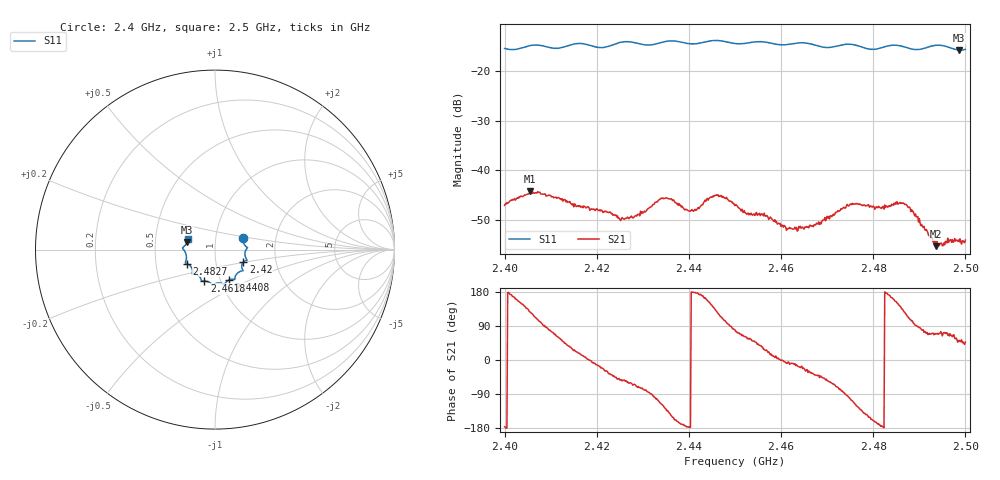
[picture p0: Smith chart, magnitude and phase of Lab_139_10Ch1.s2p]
# Hz S RI R 50
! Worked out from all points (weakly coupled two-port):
!   601 points, 2.4 GHz to 2.5 GHz, reference 50 ohm
!   highest |S21| = -44.22 dB at 2.4055 GHz (marker M1); lowest = -55.2 dB at 2.4937 GHz (marker M2)
!   lowest |S11| = -15.8 dB at 2.4987 GHz (marker M3), VSWR 1.39, Z = 36.4 + j3.16 ohm
!   |S11| at or under -10 dB: start of sweep to end of sweep
!   S12 and S22 are empty: the file has one direction only
!   S11 on the Smith chart (normalised r, x): 2.4 GHz: 1.36, +0.17; 2.42 GHz: 1.36, -0.19; 2.4408 GHz: 1.10, -0.39; 2.4618 GHz: 0.84, -0.30; 2.4827 GHz: 0.72, -0.12; 2.5 GHz: 0.73, +0.09
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2.4e9  0.156 0.0619  -0.00444 -0.000295  0 0  0 0
2.4055e9  0.1787 0.0131  -0.0037 0.00491  0 0  0 0
2.411333e9  0.1669 -0.0214  0.0024 0.00465  0 0  0 0
2.416667e9  0.1783 -0.0593  0.0042 0.000967  0 0  0 0
2.42e9  0.1582 -0.0692  0.00403 -0.000903  0 0  0 0
2.4255e9  0.1563 -0.1159  0.00192 -0.00276  0 0  0 0
2.430167e9  0.1337 -0.1249  0.000763 -0.00371  0 0  0 0
2.433333e9  0.112 -0.1521  -0.00143 -0.0048  0 0  0 0
2.435667e9  0.1109 -0.1656  -0.00394 -0.00338  0 0  0 0
2.440833e9  0.079 -0.1689  -0.00394 8.86e-05  0 0  0 0
2.445833e9  0.0516 -0.1951  -0.00366 0.00427  0 0  0 0
2.45e9  0.0278 -0.186  0.000832 0.00435  0 0  0 0
2.452167e9  0.00564 -0.1885  0.00178 0.00332  0 0  0 0
2.461833e9  -0.0602 -0.1751  0.00262 -0.000542  0 0  0 0
2.466667e9  -0.077 -0.1684  0.00226 -0.00161  0 0  0 0
2.475333e9  -0.1266 -0.134  -0.00128 -0.00434  0 0  0 0
2.482667e9  -0.1572 -0.0778  -0.00424 0.000175  0 0  0 0
2.483333e9  -0.1614 -0.0762  -0.00436 0.000594  0 0  0 0
2.4875e9  -0.1602 -0.0555  -0.00178 0.00391  0 0  0 0
2.493667e9  -0.1805 0.00698  0.00061 0.00162  0 0  0 0
2.498667e9  -0.1559 0.0423  0.00119 0.0015  0 0  0 0
2.5e9  -0.152 0.0618  0.00135 0.00148  0 0  0 0
